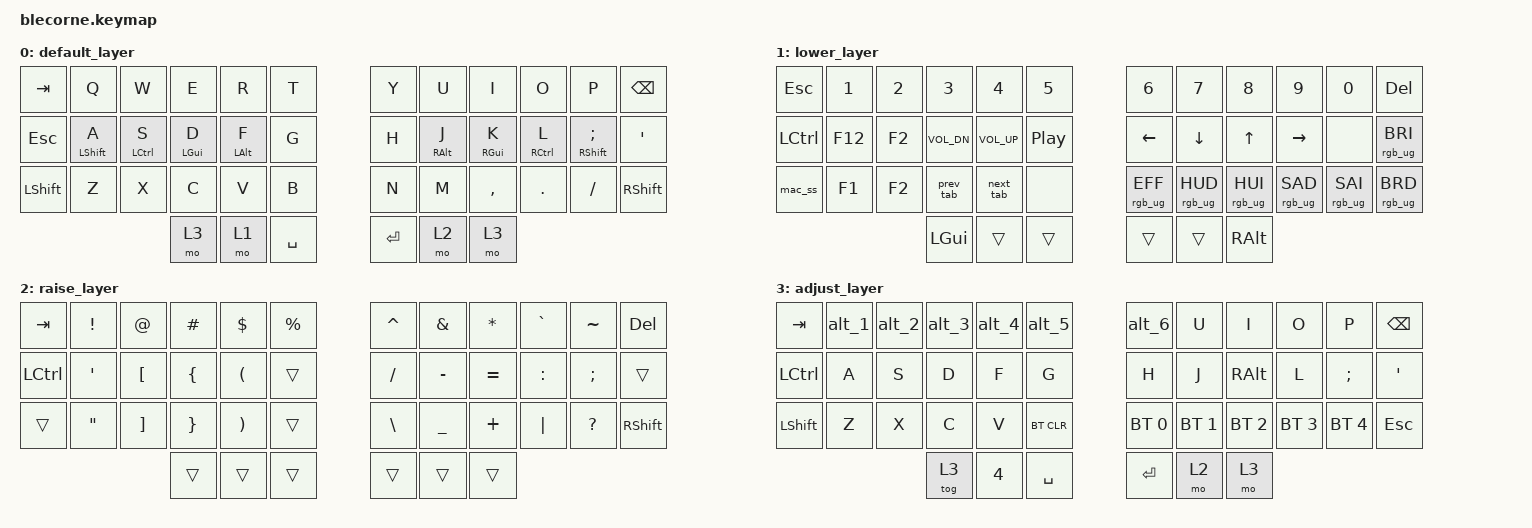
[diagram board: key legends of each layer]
/*
 * Corne Wireless ZMK Keymap
 * Converted from Unicorne VIA layout
 *
 * Layer 0: Default (QWERTY + home row mods)
 * Layer 1: Lower (numbers, F-keys, arrows, media)
 * Layer 2: Raise (symbols)
 * Layer 3: Adjust (macros / gaming-ish layer)
 */

#include <behaviors.dtsi>
#include <dt-bindings/zmk/keys.h>
#include <dt-bindings/zmk/bt.h>
#include <dt-bindings/zmk/rgb.h>

/ {
    chosen {
        zmk,physical-layout = &foostan_corne_6col_layout;
    };

    combos {
        compatible = "zmk,combos";

        // Left hand: A + S -> Ctrl+Shift
        combo_left_ctrl_shift {
            timeout-ms = <50>;
            require-prior-idle-ms = <150>;
            key-positions = <13 14>;
            bindings = <&kp LS(LCTRL)>;
            layers = <0>;
        };

        // Left hand: A + F -> Alt+Shift (Aerospace window movement)
        combo_left_alt_shift {
            timeout-ms = <50>;
            require-prior-idle-ms = <150>;
            key-positions = <13 16>;
            bindings = <&kp LS(LALT)>;
            layers = <0>;
        };

        // Right hand: J + ; -> Alt+Shift (mirror of left)
        combo_right_alt_shift {
            timeout-ms = <50>;
            require-prior-idle-ms = <150>;
            key-positions = <19 22>;
            bindings = <&kp RS(RALT)>;
            layers = <0>;
        };

        // Right hand: L + ; -> Ctrl+Shift (mirror of left)
        combo_right_ctrl_shift {
            timeout-ms = <50>;
            require-prior-idle-ms = <150>;
            key-positions = <21 22>;
            bindings = <&kp RS(RCTRL)>;
            layers = <0>;
        };
    };
};

/ {
    macros {
        mac_ss: mac_ss {
            compatible = "zmk,behavior-macro";
            #binding-cells = <0>;
            bindings = <&kp LG(LS(N4))>;
        };
        alt_1: alt_1 {
            compatible = "zmk,behavior-macro";
            #binding-cells = <0>;
            bindings = <&kp LA(N1)>;
        };
        alt_2: alt_2 {
            compatible = "zmk,behavior-macro";
            #binding-cells = <0>;
            bindings = <&kp LA(N2)>;
        };
        alt_3: alt_3 {
            compatible = "zmk,behavior-macro";
            #binding-cells = <0>;
            bindings = <&kp LA(N3)>;
        };
        alt_4: alt_4 {
            compatible = "zmk,behavior-macro";
            #binding-cells = <0>;
            bindings = <&kp LA(N4)>;
        };
        alt_5: alt_5 {
            compatible = "zmk,behavior-macro";
            #binding-cells = <0>;
            bindings = <&kp LA(N5)>;
        };
        alt_6: alt_6 {
            compatible = "zmk,behavior-macro";
            #binding-cells = <0>;
            bindings = <&kp LA(N6)>;
        };
        prev_tab: prev_tab {
            compatible = "zmk,behavior-macro";
            #binding-cells = <0>;
            bindings = <&kp LC(LS(TAB))>;
        };
        next_tab: next_tab {
            compatible = "zmk,behavior-macro";
            #binding-cells = <0>;
            bindings = <&kp LC(TAB)>;
        };
    };

    behaviors {
        // Left-hand home row mods: hold triggers on opposite-hand keys + same-side layer thumbs (36, 37)
        hml: home_row_mod_left {
            compatible = "zmk,behavior-hold-tap";
            #binding-cells = <2>;
            flavor = "balanced";
            tapping-term-ms = <180>;
            quick-tap-ms = <175>;
            require-prior-idle-ms = <150>;
            hold-trigger-key-positions = <6 7 8 9 10 11 18 19 20 21 22 23 30 31 32 33 34 35 36 37 39 40 41>;
            bindings = <&kp>, <&kp>;
        };

        // Right-hand home row mods: hold triggers on opposite-hand keys + same-side layer thumbs (40, 41)
        hmr: home_row_mod_right {
            compatible = "zmk,behavior-hold-tap";
            #binding-cells = <2>;
            flavor = "balanced";
            tapping-term-ms = <180>;
            quick-tap-ms = <175>;
            require-prior-idle-ms = <150>;
            hold-trigger-key-positions = <0 1 2 3 4 5 12 13 14 15 16 17 24 25 26 27 28 29 36 37 38 40 41>;
            bindings = <&kp>, <&kp>;
        };
    };

    keymap {
        compatible = "zmk,keymap";

        default_layer {
            bindings = <
                &kp TAB    &kp Q       &kp W       &kp E       &kp R       &kp T           &kp Y   &kp U       &kp I       &kp O       &kp P          &kp BSPC
                &kp ESC    &hml LSHFT A &hml LCTRL S &hml LGUI D &hml LALT F &kp G           &kp H   &hmr RALT J &hmr RGUI K &hmr RCTRL L &hmr RSHFT SEMI &kp SQT
                &kp LSHFT  &kp Z       &kp X       &kp C       &kp V       &kp B           &kp N   &kp M       &kp COMMA   &kp DOT     &kp FSLH       &kp RSHFT
                                                    &mo 3       &mo 1       &kp SPACE       &kp RET &mo 2       &mo 3
            >;
        };

        lower_layer {
            bindings = <
                &kp ESC     &kp N1  &kp N2  &kp N3       &kp N4       &kp N5              &kp N6          &kp N7          &kp N8          &kp N9          &kp N0          &kp DEL
                &kp LCTRL   &kp F12 &kp F2  &kp C_VOL_DN &kp C_VOL_UP &kp C_PP            &kp LEFT        &kp DOWN        &kp UP          &kp RIGHT       &none           &rgb_ug RGB_BRI
                &mac_ss     &kp F1  &kp F2  &prev_tab    &next_tab    &none               &rgb_ug RGB_EFF &rgb_ug RGB_HUD &rgb_ug RGB_HUI &rgb_ug RGB_SAD &rgb_ug RGB_SAI &rgb_ug RGB_BRD
                                            &kp LGUI     &trans       &trans              &trans          &trans          &kp RALT
            >;
        };

        raise_layer {
            bindings = <
                &kp TAB    &kp EXCL  &kp AT    &kp HASH  &kp DLLR  &kp PRCNT       &kp CARET &kp AMPS  &kp ASTRK &kp GRAVE &kp TILDE &kp DEL
                &kp LCTRL  &kp SQT   &kp LBKT  &kp LBRC  &kp LPAR  &trans          &kp FSLH  &kp MINUS &kp EQUAL &kp COLON &kp SEMI  &trans
                &trans     &kp DQT   &kp RBKT  &kp RBRC  &kp RPAR  &trans          &kp BSLH  &kp UNDER &kp PLUS  &kp PIPE  &kp QMARK &kp RSHFT
                                               &trans    &trans    &trans          &trans    &trans    &trans
            >;
        };

        adjust_layer {
            bindings = <
                &kp TAB    &alt_1  &alt_2  &alt_3  &alt_4  &alt_5          &alt_6       &kp U        &kp I        &kp O        &kp P        &kp BSPC
                &kp LCTRL  &kp A   &kp S   &kp D   &kp F   &kp G           &kp H        &kp J        &kp RALT     &kp L        &kp SEMI     &kp SQT
                &kp LSHFT  &kp Z   &kp X   &kp C   &kp V   &bt BT_CLR      &bt BT_SEL 0 &bt BT_SEL 1 &bt BT_SEL 2 &bt BT_SEL 3 &bt BT_SEL 4 &kp ESC
                                           &tog 3  &kp N4  &kp SPACE       &kp RET      &mo 2        &mo 3
            >;
        };
    };
};
